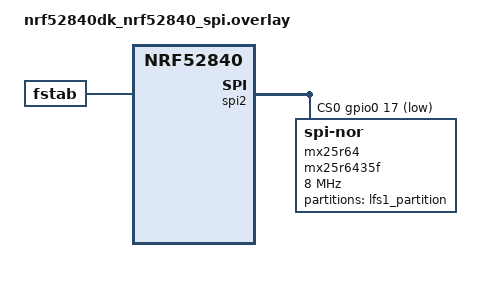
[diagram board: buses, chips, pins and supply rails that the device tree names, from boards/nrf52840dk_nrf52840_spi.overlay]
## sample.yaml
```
sample:
  name: littlefs filesystem sample
common:
  tags:
    - filesystem
    - littefs
tests:
  sample.filesystem.littlefs:
    build_only: true
    platform_allow:
      - nrf52840dk_nrf52840
      - particle_xenon
      - disco_l475_iot1
      - mimxrt685_evk_cm33
      - mimxrt1060_evk
      - mimxrt1064_evk
      - qemu_x86
      - native_posix
      - mimxrt1160_evk_cm7
      - lpcxpresso55s69_cpu0
      - mr_canhubk3
    integration_platforms:
      - nrf52840dk_nrf52840
  sample.filesystem.littlefs.nrf52840dk_spi:
    build_only: true
    platform_allow: nrf52840dk_nrf52840
    extra_args:
      - OVERLAY_CONFIG=boards/nrf52840dk_nrf52840_spi.conf
      - DTC_OVERLAY_FILE=boards/nrf52840dk_nrf52840_spi.overlay
  sample.filesystem.littlefs.nrf52840dk_qspi:
    build_only: true
    platform_allow: nrf52840dk_nrf52840
    extra_args:
      - OVERLAY_CONFIG=boards/nrf52840dk_nrf52840_qspi.conf
      - DTC_OVERLAY_FILE=boards/nrf52840dk_nrf52840_qspi.overlay
```

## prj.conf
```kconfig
#
# Copyright (c) 2019 Peter Bigot Consulting, LLC
#
# SPDX-License-Identifier: Apache-2.0
#

# Optionally force the file system to be recreated
#CONFIG_APP_WIPE_STORAGE=y

# fs_dirent structures are big.
CONFIG_MAIN_STACK_SIZE=4096

# Let __ASSERT do its job
CONFIG_DEBUG=y

CONFIG_LOG=y
CONFIG_LOG_MODE_MINIMAL=y

CONFIG_FLASH=y
CONFIG_FLASH_MAP=y
CONFIG_FLASH_PAGE_LAYOUT=y

CONFIG_FILE_SYSTEM=y
CONFIG_FILE_SYSTEM_LITTLEFS=y
```

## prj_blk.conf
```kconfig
#
# Copyright (c) 2022 Lukasz Majewski, DENX Software Engineering GmbH
#
# SPDX-License-Identifier: Apache-2.0
#

CONFIG_DISK_ACCESS=y
CONFIG_DISK_DRIVERS=y
CONFIG_DISK_DRIVER_SDMMC=y

CONFIG_DEBUG=y
CONFIG_LOG=y
CONFIG_LOG_MODE_MINIMAL=y

CONFIG_FILE_SYSTEM=y
CONFIG_FILE_SYSTEM_LITTLEFS=y

CONFIG_FS_LITTLEFS_BLK_DEV=y
CONFIG_APP_LITTLEFS_STORAGE_BLK_SDMMC=y

CONFIG_NOCACHE_MEMORY=y
CONFIG_SDMMC_STM32_HWFC=y
```

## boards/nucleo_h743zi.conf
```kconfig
#
# Copyright (c) 2021 Lukasz Majewski, DENX Software Engineering GmbH
#
# SPDX-License-Identifier: Apache-2.0
#

CONFIG_DEBUG=y
CONFIG_FILE_SYSTEM_LITTLEFS=y
CONFIG_FLASH=y
CONFIG_FLASH_MAP=y
CONFIG_FLASH_PAGE_LAYOUT=y
CONFIG_FLASH_STM32_QSPI=y

CONFIG_COMMON_LIBC_MALLOC_ARENA_SIZE=8192

# Littlefs configuration to utilize QSPI operation
CONFIG_FS_LITTLEFS_CACHE_SIZE=256
CONFIG_FS_LITTLEFS_PROG_SIZE=32
CONFIG_FS_LITTLEFS_READ_SIZE=32
CONFIG_FS_LITTLEFS_LOOKAHEAD_SIZE=64
CONFIG_FS_LITTLEFS_FC_HEAP_SIZE=8192

CONFIG_NOCACHE_MEMORY=y
```

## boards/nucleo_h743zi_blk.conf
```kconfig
#
# Copyright (c) 2022 Lukasz Majewski, DENX Software Engineering GmbH
#
# SPDX-License-Identifier: Apache-2.0
#
CONFIG_MAIN_STACK_SIZE=2048
CONFIG_COMMON_LIBC_MALLOC_ARENA_SIZE=8192

CONFIG_FS_LITTLEFS_FC_HEAP_SIZE=8192
```

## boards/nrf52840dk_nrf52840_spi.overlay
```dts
/*
 * Copyright (c) 2023 Nordic Semiconductor ASA
 *
 * SPDX-License-Identifier: Apache-2.0
 */

/delete-node/ &mx25r64;

&qspi {
	status = "disabled";
};

/* The mx25, on nrf52840dk_nrf52840, uses pins for spi0, spi1, spi2 and spi3
 * to provide quad-spi feature. In individual specifications each of the spi
 * notes define own clock source (SCK), but spi2 shares the same clock source
 * as qspi configuration, which is pin (0,19). That is why spi2 is used here
 * to communicate with mx25, when qspi is not used, to avoid rerouting clock
 * pin.
 */
&spi2 {
	compatible = "nordic,nrf-spi";
	status = "okay";
	cs-gpios = <&gpio0 17 GPIO_ACTIVE_LOW>;
	pinctrl-0 = <&spi2_default>;
	pinctrl-1 = <&spi2_sleep>;
	pinctrl-names = "default", "sleep";
	mx25r64: mx25r6435f@0 {
		compatible = "jedec,spi-nor";
		reg = <0>;
		spi-max-frequency = <8000000>;
		jedec-id = [c2 28 17];
		sfdp-bfp = [
			e5 20 f1 ff  ff ff ff 03  44 eb 08 6b  08 3b 04 bb
			ee ff ff ff  ff ff 00 ff  ff ff 00 ff  0c 20 0f 52
			10 d8 00 ff  23 72 f5 00  82 ed 04 cc  44 83 68 44
			30 b0 30 b0  f7 c4 d5 5c  00 be 29 ff  f0 d0 ff ff
		];
		size = <67108864>;
		has-dpd;
		t-enter-dpd = <10000>;
		t-exit-dpd = <35000>;
	};
};

&mx25r64 {
	partitions {
		compatible = "fixed-partitions";
		#address-cells = <1>;
		#size-cells = <1>;

		lfs1_partition: partition@0 {
			label = "lfs1_partition";
			reg = <0x00000000 0x00010000>;
		};
	};
};

/ {
	fstab {
		compatible = "zephyr,fstab";
		lfs1: lfs1 {
			compatible = "zephyr,fstab,littlefs";
			mount-point = "/lfs1";
			partition = <&lfs1_partition>;
			automount;
			read-size = <16>;
			prog-size = <16>;
			cache-size = <64>;
			lookahead-size = <32>;
			block-cycles = <512>;
		};
	};
};
```

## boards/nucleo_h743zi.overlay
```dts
/*
 * Copyright (c) 2022 Lukasz Majewski, DENX Software Engineering GmbH
 *
 * SPDX-License-Identifier: Apache-2.0
 */
/delete-node/ &storage_partition;

&sdmmc1 {
	status = "okay";
	pinctrl-0 = <&sdmmc1_d0_pc8
		     &sdmmc1_ck_pc12
		     &sdmmc1_cmd_pd2>;

	pinctrl-names = "default";
};

&quadspi {
	pinctrl-0 = <&quadspi_clk_pf10 &quadspi_bk2_ncs_pc11
		     &quadspi_bk2_io0_pe7 &quadspi_bk2_io1_pe8
		     &quadspi_bk2_io2_pe9 &quadspi_bk2_io3_pe10>;
	pinctrl-names = "default";

	flash-id = <2>;
	status = "okay";

	mx25l25645g: qspi-nor-flash@0 {
		compatible = "st,stm32-qspi-nor";
		reg = <0>;
		qspi-max-frequency = <50000000>;
		size = <DT_SIZE_M(32*8)>;
		reset-gpios = <&gpiod 3 GPIO_ACTIVE_LOW>;
		reset-gpios-duration = <1>;
		spi-bus-width = <4>;
		status = "okay";

		partitions {
			   compatible = "fixed-partitions";
			   #address-cells = <1>;
			   #size-cells = <1>;

			   storage_partition: partition@0 {
			       label = "storage";
			       reg = <0 DT_SIZE_M(8)>;
			   };
		};
	};
};
```

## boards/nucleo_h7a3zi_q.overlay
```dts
/*
 * Copyright (c) 2022 Christoph Heller
 *
 * SPDX-License-Identifier: Apache-2.0
 */

/ {
	fstab {
		compatible = "zephyr,fstab";
		lfs1: lfs1 {
			compatible = "zephyr,fstab,littlefs";
			read-size = <1>;
			prog-size = <16>;
			cache-size = <256>;
			lookahead-size = <32>;
			block-cycles = <512>;
			partition = <&lfs1_partition>;
			mount-point = "/lfs1";
    };
	};
};

&flash0 {
	partitions {
		compatible = "fixed-partitions";
		#address-cells = <1>;
		#size-cells = <1>;

		/* Use second half of flash for the filesystem. */
		lfs1_partition: partition@100000 {
			label = "storage";
			reg = <0x10000 DT_SIZE_K(1024)>;
		};
	};
};
```

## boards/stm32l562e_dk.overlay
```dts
/*
 * Copyright (c) 2023 OS Systems
 *
 * SPDX-License-Identifier: Apache-2.0
 */

 / {
	fstab {
		compatible = "zephyr,fstab";
		lfs1: lfs1 {
			compatible = "zephyr,fstab,littlefs";
			read-size = <256>;
			prog-size = <256>;
			cache-size = <4096>;
			lookahead-size = <256>;
			block-cycles = <512>;
			partition = <&lfs1_partition>;
			mount-point = "/lfs1";
			automount;
		};
	};
};

&mx25lm51245 {
	partitions {
		/delete-node/ partition;

		/* Use the whole flash for the filesystem. */
		lfs1_partition: partition@0 {
			reg = <0x00000000 DT_SIZE_M(64)>;
		};
	};
};
```

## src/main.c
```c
/*
 * Copyright (c) 2022 Lukasz Majewski, DENX Software Engineering GmbH
 * Copyright (c) 2019 Peter Bigot Consulting, LLC
 *
 * SPDX-License-Identifier: Apache-2.0
 */

/* Sample which uses the filesystem API with littlefs */

#include <stdio.h>

#include <zephyr/kernel.h>
#include <zephyr/device.h>
#include <zephyr/fs/fs.h>
#include <zephyr/fs/littlefs.h>
#include <zephyr/logging/log.h>
#include <zephyr/storage/flash_map.h>

LOG_MODULE_REGISTER(main);

/* Matches LFS_NAME_MAX */
#define MAX_PATH_LEN 255
#define TEST_FILE_SIZE 547

static uint8_t file_test_pattern[TEST_FILE_SIZE];
static int lsdir(const char *path)
{
	int res;
	struct fs_dir_t dirp;
	static struct fs_dirent entry;

	fs_dir_t_init(&dirp);

	/* Verify fs_opendir() */
	res = fs_opendir(&dirp, path);
	if (res) {
		LOG_ERR("Error opening dir %s [%d]\n", path, res);
		return res;
	}

	LOG_PRINTK("\nListing dir %s ...\n", path);
	for (;;) {
		/* Verify fs_readdir() */
		res = fs_readdir(&dirp, &entry);

		/* entry.name[0] == 0 means end-of-dir */
		if (res || entry.name[0] == 0) {
			if (res < 0) {
				LOG_ERR("Error reading dir [%d]\n", res);
			}
			break;
		}

		if (entry.type == FS_DIR_ENTRY_DIR) {
			LOG_PRINTK("[DIR ] %s\n", entry.name);
		} else {
			LOG_PRINTK("[FILE] %s (size = %zu)\n",
				   entry.name, entry.size);
		}
	}

	/* Verify fs_closedir() */
	fs_closedir(&dirp);

	return res;
}

static int littlefs_increase_infile_value(char *fname)
{
	uint8_t boot_count = 0;
	struct fs_file_t file;
	int rc, ret;

	fs_file_t_init(&file);
	rc = fs_open(&file, fname, FS_O_CREATE | FS_O_RDWR);
	if (rc < 0) {
		LOG_ERR("FAIL: open %s: %d", fname, rc);
		return rc;
	}

	rc = fs_read(&file, &boot_count, sizeof(boot_count));
	if (rc < 0) {
		LOG_ERR("FAIL: read %s: [rd:%d]", fname, rc);
		goto out;
	}
	LOG_PRINTK("%s read count:%u (bytes: %d)\n", fname, boot_count, rc);

	rc = fs_seek(&file, 0, FS_SEEK_SET);
	if (rc < 0) {
		LOG_ERR("FAIL: seek %s: %d", fname, rc);
		goto out;
	}

	boot_count += 1;
	rc = fs_write(&file, &boot_count, sizeof(boot_count));
	if (rc < 0) {
		LOG_ERR("FAIL: write %s: %d", fname, rc);
		goto out;
	}

	LOG_PRINTK("%s write new boot count %u: [wr:%d]\n", fname,
		   boot_count, rc);

 out:
	ret = fs_close(&file);
	if (ret < 0) {
		LOG_ERR("FAIL: close %s: %d", fname, ret);
		return ret;
	}

	return (rc < 0 ? rc : 0);
}

static void incr_pattern(uint8_t *p, uint16_t size, uint8_t inc)
{
	uint8_t fill = 0x55;

	if (p[0] % 2 == 0) {
		fill = 0xAA;
	}

	for (int i = 0; i < (size - 1); i++) {
		if (i % 8 == 0) {
			p[i] += inc;
		} else {
			p[i] = fill;
		}
	}

	p[size - 1] += inc;
}

static void init_pattern(uint8_t *p, uint16_t size)
{
	uint8_t v = 0x1;

	memset(p, 0x55, size);

	for (int i = 0; i < size; i += 8) {
		p[i] = v++;
	}

	p[size - 1] = 0xAA;
}

static void print_pattern(uint8_t *p, uint16_t size)
{
	int i, j = size / 16, k;

	for (k = 0, i = 0; k < j; i += 16, k++) {
		LOG_PRINTK("%02x %02x %02x %02x %02x %02x %02x %02x ",
			   p[i], p[i+1], p[i+2], p[i+3],
			   p[i+4], p[i+5], p[i+6], p[i+7]);
		LOG_PRINTK("%02x %02x %02x %02x %02x %02x %02x %02x\n",
			   p[i+8], p[i+9], p[i+10], p[i+11],
			   p[i+12], p[i+13], p[i+14], p[i+15]);

		/* Mark 512B (sector) chunks of the test file */
		if ((k + 1) % 32 == 0) {
			LOG_PRINTK("\n");
		}
	}

	for (; i < size; i++) {
		LOG_PRINTK("%02x ", p[i]);
	}

	LOG_PRINTK("\n");
}

static int littlefs_binary_file_adj(char *fname)
{
	struct fs_dirent dirent;
	struct fs_file_t file;
	int rc, ret;

	/*
	 * Uncomment below line to force re-creation of the test pattern
	 * file on the littlefs FS.
	 */
	/* fs_unlink(fname); */
	fs_file_t_init(&file);

	rc = fs_open(&file, fname, FS_O_CREATE | FS_O_RDWR);
	if (rc < 0) {
		LOG_ERR("FAIL: open %s: %d", fname, rc);
		return rc;
	}

	rc = fs_stat(fname, &dirent);
	if (rc < 0) {
		LOG_ERR("FAIL: stat %s: %d", fname, rc);
		goto out;
	}

	/* Check if the file exists - if not just write the pattern */
	if (rc == 0 && dirent.type == FS_DIR_ENTRY_FILE && dirent.size == 0) {
		LOG_INF("Test file: %s not found, create one!",
			fname);
		init_pattern(file_test_pattern, sizeof(file_test_pattern));
	} else {
		rc = fs_read(&file, file_test_pattern,
			     sizeof(file_test_pattern));
		if (rc < 0) {
			LOG_ERR("FAIL: read %s: [rd:%d]",
				fname, rc);
			goto out;
		}
		incr_pattern(file_test_pattern, sizeof(file_test_pattern), 0x1);
	}

	LOG_PRINTK("------ FILE: %s ------\n", fname);
	print_pattern(file_test_pattern, sizeof(file_test_pattern));

	rc = fs_seek(&file, 0, FS_SEEK_SET);
	if (rc < 0) {
		LOG_ERR("FAIL: seek %s: %d", fname, rc);
		goto out;
	}

	rc = fs_write(&file, file_test_pattern, sizeof(file_test_pattern));
	if (rc < 0) {
		LOG_ERR("FAIL: write %s: %d", fname, rc);
	}

 out:
	ret = fs_close(&file);
	if (ret < 0) {
		LOG_ERR("FAIL: close %s: %d", fname, ret);
		return ret;
	}

	return (rc < 0 ? rc : 0);
}

#ifdef CONFIG_APP_LITTLEFS_STORAGE_FLASH
static int littlefs_flash_erase(unsigned int id)
{
	const struct flash_area *pfa;
	int rc;

	rc = flash_area_open(id, &pfa);
	if (rc < 0) {
		LOG_ERR("FAIL: unable to find flash area %u: %d\n",
			id, rc);
		return rc;
	}

	LOG_PRINTK("Area %u at 0x%x on %s for %u bytes\n",
		   id, (unsigned int)pfa->fa_off, pfa->fa_dev->name,
		   (unsigned int)pfa->fa_size);

	/* Optional wipe flash contents */
	if (IS_ENABLED(CONFIG_APP_WIPE_STORAGE)) {
		rc = flash_area_erase(pfa, 0, pfa->fa_size);
		LOG_ERR("Erasing flash area ... %d", rc);
	}

	flash_area_close(pfa);
	return rc;
}
#define PARTITION_NODE DT_NODELABEL(lfs1)

#if DT_NODE_EXISTS(PARTITION_NODE)
FS_FSTAB_DECLARE_ENTRY(PARTITION_NODE);
#else /* PARTITION_NODE */
FS_LITTLEFS_DECLARE_DEFAULT_CONFIG(storage);
static struct fs_mount_t lfs_storage_mnt = {
	.type = FS_LITTLEFS,
	.fs_data = &storage,
	.storage_dev = (void *)FIXED_PARTITION_ID(storage_partition),
	.mnt_point = "/lfs",
};
#endif /* PARTITION_NODE */

	struct fs_mount_t *mountpoint =
#if DT_NODE_EXISTS(PARTITION_NODE)
		&FS_FSTAB_ENTRY(PARTITION_NODE)
#else
		&lfs_storage_mnt
#endif
		;

static int littlefs_mount(struct fs_mount_t *mp)
{
	int rc;

	rc = littlefs_flash_erase((uintptr_t)mp->storage_dev);
	if (rc < 0) {
		return rc;
	}

	/* Do not mount if auto-mount has been enabled */
#if !DT_NODE_EXISTS(PARTITION_NODE) ||						\
	!(FSTAB_ENTRY_DT_MOUNT_FLAGS(PARTITION_NODE) & FS_MOUNT_FLAG_AUTOMOUNT)
	rc = fs_mount(mp);
	if (rc < 0) {
		LOG_PRINTK("FAIL: mount id %" PRIuPTR " at %s: %d\n",
		       (uintptr_t)mp->storage_dev, mp->mnt_point, rc);
		return rc;
	}
	LOG_PRINTK("%s mount: %d\n", mp->mnt_point, rc);
#else
	LOG_PRINTK("%s automounted\n", mp->mnt_point);
#endif

	return 0;
}
#endif /* CONFIG_APP_LITTLEFS_STORAGE_FLASH */

#ifdef CONFIG_APP_LITTLEFS_STORAGE_BLK_SDMMC

#if defined(CONFIG_DISK_DRIVER_SDMMC)
#define DISK_NAME CONFIG_SDMMC_VOLUME_NAME
#elif IS_ENABLED(CONFIG_DISK_DRIVER_MMC)
#define DISK_NAME CONFIG_MMC_VOLUME_NAME
#else
#error "No disk device defined, is your board supported?"
#endif

struct fs_littlefs lfsfs;
static struct fs_mount_t __mp = {
	.type = FS_LITTLEFS,
	.fs_data = &lfsfs,
	.flags = FS_MOUNT_FLAG_USE_DISK_ACCESS,
};
struct fs_mount_t *mountpoint = &__mp;

static int littlefs_mount(struct fs_mount_t *mp)
{
	static const char *disk_mount_pt = "/"DISK_NAME":";
	static const char *disk_pdrv = DISK_NAME;

	mp->storage_dev = (void *)disk_pdrv;
	mp->mnt_point = disk_mount_pt;

	return fs_mount(mp);
}
#endif /* CONFIG_APP_LITTLEFS_STORAGE_BLK_SDMMC */

int main(void)
{
	char fname1[MAX_PATH_LEN];
	char fname2[MAX_PATH_LEN];
	struct fs_statvfs sbuf;
	int rc;

	LOG_PRINTK("Sample program to r/w files on littlefs\n");

	rc = littlefs_mount(mountpoint);
	if (rc < 0) {
		return 0;
	}

	snprintf(fname1, sizeof(fname1), "%s/boot_count", mountpoint->mnt_point);
	snprintf(fname2, sizeof(fname2), "%s/pattern.bin", mountpoint->mnt_point);

	rc = fs_statvfs(mountpoint->mnt_point, &sbuf);
	if (rc < 0) {
		LOG_PRINTK("FAIL: statvfs: %d\n", rc);
		goto out;
	}

	LOG_PRINTK("%s: bsize = %lu ; frsize = %lu ;"
		   " blocks = %lu ; bfree = %lu\n",
		   mountpoint->mnt_point,
		   sbuf.f_bsize, sbuf.f_frsize,
		   sbuf.f_blocks, sbuf.f_bfree);

	rc = lsdir(mountpoint->mnt_point);
	if (rc < 0) {
		LOG_PRINTK("FAIL: lsdir %s: %d\n", mountpoint->mnt_point, rc);
		goto out;
	}

	rc = littlefs_increase_infile_value(fname1);
	if (rc) {
		goto out;
	}

	rc = littlefs_binary_file_adj(fname2);
	if (rc) {
		goto out;
	}

out:
	rc = fs_unmount(mountpoint);
	LOG_PRINTK("%s unmount: %d\n", mountpoint->mnt_point, rc);
	return 0;
}
```
